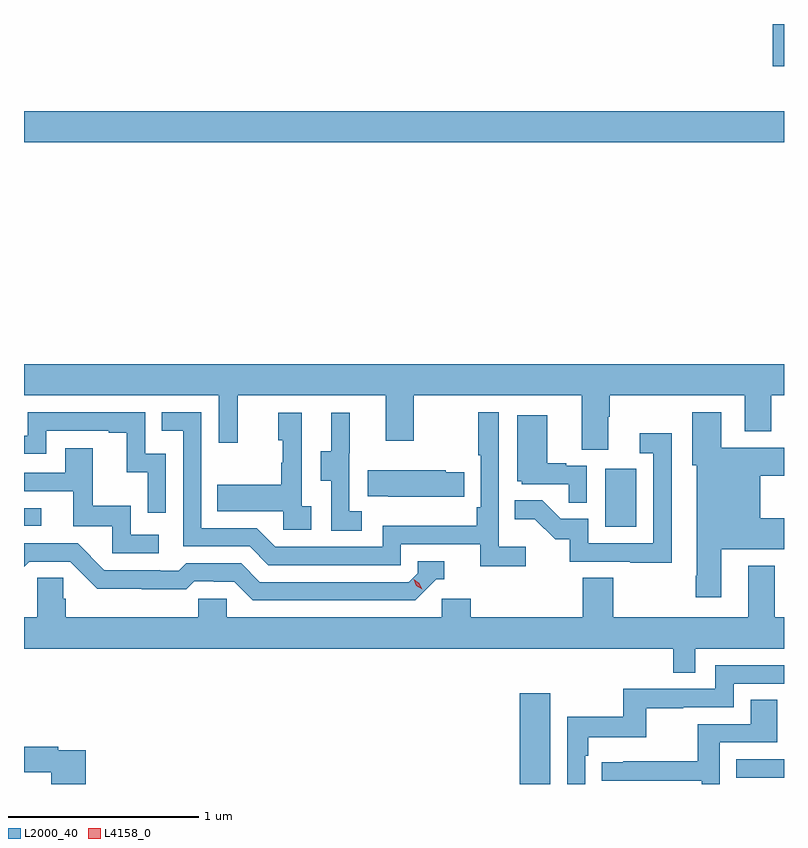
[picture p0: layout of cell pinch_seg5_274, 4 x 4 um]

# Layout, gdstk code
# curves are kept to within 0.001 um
import gdstk
lib = gdstk.Library(unit=1e-6, precision=1e-09)
def R(c, l, rs):  # rectangles x0, y0, x1, y1
    for r in rs: c.add(gdstk.rectangle(r[:2], r[2:], *l))
def P(c, l, *ps):  # polygons
    for p in ps: c.add(gdstk.Polygon(p, *l))
L2000_40 = (2000, 40)
L4158_0 = (4158, 0)

pinch_seg5_274 = lib.new_cell('pinch_seg5_274')
R(pinch_seg5_274, L2000_40, [(890.186,900.003,890.347,900.481), (891.325,900.036,891.577,900.132), (890.636,901.356,890.8,901.663), (887.577,901.362,887.668,901.455), (887.577,903.38,891.577,903.544), (891.518,903.78,891.577,904.003)])
P(pinch_seg5_274, L2000_40, [(890.653,901.936),(890.661,901.936),(890.661,902.048),(891.371,902.048),(891.371,901.859),(891.511,901.859),(891.511,902.048),(891.577,902.048),(891.577,902.212),(887.577,902.212),(887.577,902.048),(888.603,902.048),(888.603,901.8),(888.701,901.8),(888.701,902.048),(889.481,902.048),(889.481,901.809),(889.629,901.809),(889.629,902.048),(890.513,902.048),(890.513,901.762),(890.653,901.762)],
  [(891.247,901.238),(891.577,901.238),(891.577,901.402),(891.451,901.402),(891.451,901.625),(891.577,901.625),(891.577,901.774),(891.247,901.774),(891.247,901.96),(891.095,901.96),(891.095,901.68),(891.119,901.68),(891.119,901.099),(891.112,901.099),(891.112,900.987),(891.247,900.987)],
  [(890.218,901.252),(890.076,901.252),(890.076,901.96),(889.968,901.96),(889.968,901.732),(889.98,901.732),(889.98,901.459),(889.96,901.459),(889.96,901.363),(889.464,901.363),(889.464,901.251),(888.9,901.251),(888.801,901.35),(888.51,901.35),(888.51,901.959),(888.301,901.959),(888.301,901.863),(888.414,901.863),(888.414,901.254),(888.764,901.254),(888.863,901.155),(889.56,901.155),(889.56,901.266),(889.979,901.266),(889.979,901.15),(890.218,901.15)],
  [(888.324,901.74),(888.216,901.74),(888.216,901.959),(887.598,901.959),(887.598,901.836),(887.577,901.836),(887.577,901.74),(887.694,901.74),(887.694,901.863),(888.023,901.863),(888.023,901.851),(888.119,901.851),(888.119,901.643),(888.228,901.643),(888.228,901.431),(888.324,901.431)],
  [(889.09,901.466),(889.038,901.466),(889.038,901.957),(888.914,901.957),(888.914,901.812),(888.94,901.812),(888.94,901.694),(888.93,901.694),(888.93,901.579),(888.595,901.579),(888.595,901.439),(888.942,901.439),(888.942,901.341),(889.09,901.341)],
  [(889.354,901.439),(889.29,901.439),(889.29,901.743),(889.292,901.743),(889.292,901.957),(889.193,901.957),(889.193,901.755),(889.139,901.755),(889.139,901.6),(889.194,901.6),(889.194,901.336),(889.354,901.336)],
  [(890.538,901.677),(890.432,901.677),(890.432,901.69),(890.332,901.69),(890.332,901.945),(890.174,901.945),(890.174,901.596),(890.196,901.596),(890.196,901.581),(890.443,901.581),(890.443,901.483),(890.538,901.483)],
  [(890.986,901.58),(890.985,901.849),(890.817,901.849),(890.817,901.743),(890.889,901.743),(890.889,901.269),(890.547,901.269),(890.547,901.398),(890.403,901.398),(890.305,901.496),(890.161,901.496),(890.161,901.397),(890.265,901.397),(890.372,901.29),(890.449,901.29),(890.449,901.173),(890.767,901.173),(890.767,901.168),(890.986,901.168)],
  [(888.286,901.314),(888.138,901.314),(888.138,901.468),(887.939,901.468),(887.939,901.771),(887.795,901.771),(887.795,901.641),(887.577,901.641),(887.577,901.545),(887.837,901.545),(887.837,901.359),(888.042,901.359),(888.042,901.218),(888.286,901.218)],
  [(889.895,901.644),(889.797,901.644),(889.797,901.654),(889.387,901.654),(889.387,901.517),(889.495,901.517),(889.495,901.514),(889.895,901.514)],
  [(889.746,901.08),(889.789,901.08),(889.789,901.176),(889.65,901.176),(889.65,901.113),(889.602,901.065),(888.819,901.065),(888.72,901.164),(888.431,901.164),(888.392,901.125),(888.293,901.125),(888.293,901.128),(888,901.128),(887.859,901.269),(887.577,901.269),(887.577,901.146),(887.604,901.173),(887.82,901.173),(887.962,901.031),(888.198,901.031),(888.198,901.029),(888.431,901.029),(888.473,901.071),(888.576,901.071),(888.576,901.068),(888.683,901.068),(888.782,900.969),(889.635,900.969)],
  [(891.111,900.716),(891.577,900.716),(891.577,900.88),(891.529,900.88),(891.529,901.153),(891.389,901.153),(891.389,900.88),(890.679,900.88),(890.679,901.088),(890.519,901.088),(890.519,900.88),(889.928,900.88),(889.928,900.978),(889.776,900.978),(889.776,900.88),(888.645,900.88),(888.645,900.978),(888.495,900.978),(888.495,900.88),(887.798,900.88),(887.798,900.978),(887.783,900.978),(887.783,901.088),(887.646,901.088),(887.646,900.88),(887.577,900.88),(887.577,900.716),(890.995,900.716),(890.995,900.589),(891.111,900.589)],
  [(890.532,900.152),(890.546,900.152),(890.546,900.248),(890.851,900.248),(890.851,900.403),(891.047,900.403),(891.047,900.408),(891.312,900.408),(891.312,900.531),(891.577,900.531),(891.577,900.627),(891.216,900.627),(891.216,900.504),(890.73,900.504),(890.73,900.358),(890.436,900.358),(890.436,900.003),(890.532,900.003)],
  [(891.24,900.222),(891.541,900.222),(891.541,900.446),(891.401,900.446),(891.401,900.318),(891.124,900.318),(891.124,900.122),(890.731,900.122),(890.731,900.117),(890.619,900.117),(890.619,900.021),(891.144,900.021),(891.144,900.003),(891.24,900.003)],
  [(887.903,900.18),(887.756,900.18),(887.756,900.2),(887.577,900.2),(887.577,900.064),(887.72,900.064),(887.72,900.003),(887.903,900.003)])
P(pinch_seg5_274, L4158_0, [(889.673,901.027),(889.642,901.047),(889.627,901.08),(889.627,901.08),(889.627,901.08),(889.657,901.06),(889.673,901.027),(889.673,901.027)])

lib.write_gds('pinch_seg5_274.gds')
